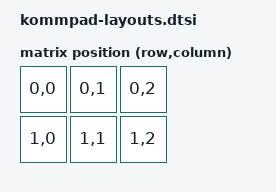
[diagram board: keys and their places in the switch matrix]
#include <dt-bindings/zmk/matrix_transform.h>

/ {
    chosen {
        zmk,matrix_transform = &default_transform;
    };

    default_transform: keymap_transform_0 {
        compatible = "zmk,matrix-transform";
        columns = <3>;
        rows = <2>;
        map = <
            RC(0,0) RC(0,1) RC(0,2)
            RC(1,0) RC(1,1) RC(1,2)
        >;
    };

    zmk,layouts {
        compatible = "zmk,layouts";

        default_layout: layout {
            label = "KommPad";
            rows = <2>;
            columns = <3>;
            sensors = <1>;

            // Define the physical layout of the macro pad
            layout {
                // First row
                key_1 {
                    row = <0>;
                    col = <0>;
                    x = <0>;
                    y = <0>;
                };
                key_2 {
                    row = <0>;
                    col = <1>;
                    x = <1>;
                    y = <0>;
                };
                key_3 {
                    row = <0>;
                    col = <2>;
                    x = <2>;
                    y = <0>;
                };

                // Second row
                key_4 {
                    row = <1>;
                    col = <0>;
                    x = <0>;
                    y = <1>;
                };
                key_5 {
                    row = <1>;
                    col = <1>;
                    x = <1>;
                    y = <1>;
                };
                key_6 {
                    row = <1>;
                    col = <2>;
                    x = <2>;
                    y = <1>;
                };

                // Rotary encoder
                encoder_1 {
                    index = <0>;
                    x = <3>;
                    y = <0>;
                };
            };
        };
    };
};
